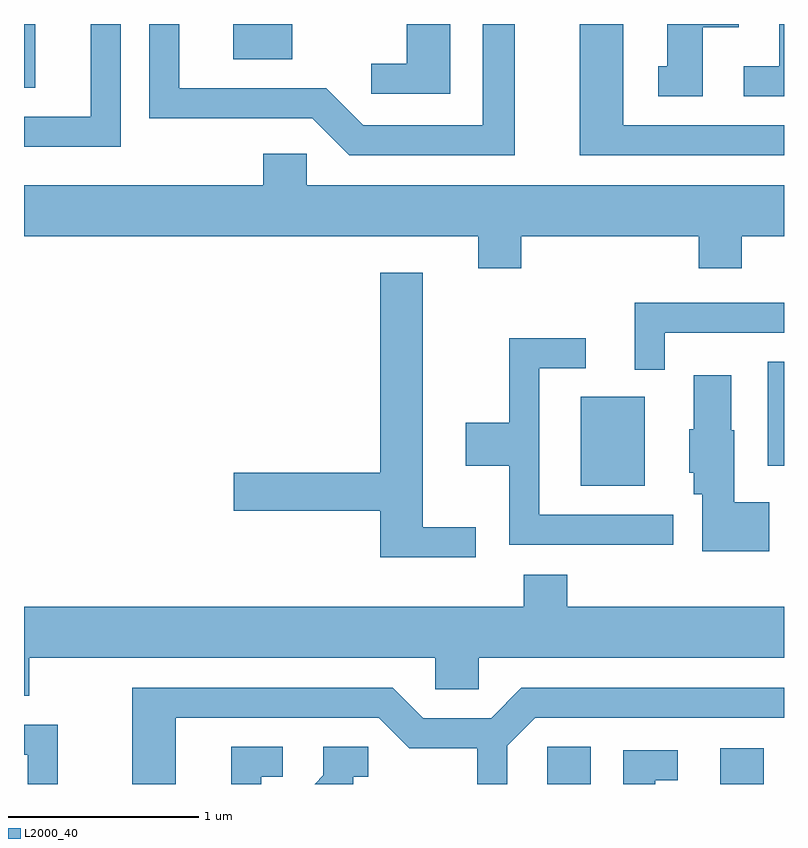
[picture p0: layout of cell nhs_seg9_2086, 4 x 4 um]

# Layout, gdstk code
import gdstk
lib = gdstk.Library(unit=1e-6, precision=1e-09)
def R(c, l, rs):  # rectangles x0, y0, x1, y1
    for r in rs: c.add(gdstk.rectangle(r[:2], r[2:], *l))
def P(c, l, *ps):  # polygons
    for p in ps: c.add(gdstk.Polygon(p, *l))
L2000_40 = (2000, 40)

nhs_seg9_2086 = lib.new_cell('nhs_seg9_2086')
R(nhs_seg9_2086, L2000_40, [(248.366,2044.432,248.594,2044.629), (249.276,2044.432,249.504,2044.619), (248.541,2046.001,248.879,2046.469), (249.526,2046.106,249.611,2046.654), (245.611,2048.096,245.669,2048.432), (246.711,2048.246,247.024,2048.432)])
P(nhs_seg9_2086, L2000_40, [(248.194,2048.432),(248.026,2048.432),(248.026,2047.899),(247.397,2047.899),(247.202,2048.094),(246.429,2048.094),(246.429,2048.432),(246.271,2048.432),(246.271,2047.936),(247.129,2047.936),(247.324,2047.741),(248.194,2047.741)],
  [(246.119,2048.432),(245.961,2048.432),(245.961,2047.944),(245.611,2047.944),(245.611,2047.786),(246.119,2047.786)],
  [(247.854,2048.432),(247.626,2048.432),(247.626,2048.224),(247.438,2048.224),(247.438,2048.066),(247.854,2048.066)],
  [(249.184,2048.416),(249.374,2048.416),(249.374,2048.432),(248.996,2048.432),(248.996,2048.209),(248.948,2048.209),(248.948,2048.051),(249.184,2048.051)],
  [(249.611,2048.432),(249.586,2048.432),(249.586,2048.209),(249.398,2048.209),(249.398,2048.051),(249.611,2048.051)],
  [(249.611,2047.899),(248.764,2047.899),(248.764,2048.432),(248.536,2048.432),(248.536,2047.741),(249.611,2047.741)],
  [(248.229,2047.316),(249.161,2047.316),(249.161,2047.146),(249.389,2047.146),(249.389,2047.316),(249.611,2047.316),(249.611,2047.584),(247.099,2047.584),(247.099,2047.749),(246.871,2047.749),(246.871,2047.584),(245.611,2047.584),(245.611,2047.316),(248.001,2047.316),(248.001,2047.146),(248.229,2047.146)],
  [(247.988,2045.784),(247.709,2045.784),(247.709,2047.124),(247.486,2047.124),(247.486,2046.069),(246.716,2046.069),(246.716,2045.871),(247.486,2045.871),(247.486,2045.626),(247.988,2045.626)],
  [(248.984,2046.806),(249.611,2046.806),(249.611,2046.964),(248.826,2046.964),(248.826,2046.613),(248.984,2046.613)],
  [(249.028,2045.849),(248.324,2045.849),(248.324,2046.621),(248.568,2046.621),(248.568,2046.779),(248.166,2046.779),(248.166,2046.334),(247.936,2046.334),(247.936,2046.106),(248.166,2046.106),(248.166,2045.691),(249.028,2045.691)],
  [(249.534,2045.914),(249.349,2045.914),(249.349,2046.295),(249.334,2046.295),(249.334,2046.584),(249.136,2046.584),(249.136,2046.299),(249.111,2046.299),(249.111,2046.071),(249.136,2046.071),(249.136,2045.956),(249.181,2045.956),(249.181,2045.656),(249.534,2045.656)],
  [(245.639,2045.096),(247.776,2045.096),(247.776,2044.931),(248.004,2044.931),(248.004,2045.096),(249.611,2045.096),(249.611,2045.364),(248.469,2045.364),(248.469,2045.534),(248.241,2045.534),(248.241,2045.364),(245.611,2045.364),(245.611,2044.896),(245.639,2044.896)],
  [(246.409,2044.781),(247.479,2044.781),(247.639,2044.621),(247.996,2044.621),(247.996,2044.432),(248.154,2044.432),(248.154,2044.634),(248.302,2044.781),(249.611,2044.781),(249.611,2044.939),(248.229,2044.939),(248.069,2044.779),(247.712,2044.779),(247.552,2044.939),(246.181,2044.939),(246.181,2044.432),(246.409,2044.432)],
  [(245.789,2044.744),(245.611,2044.744),(245.611,2044.586),(245.631,2044.586),(245.631,2044.432),(245.789,2044.432)],
  [(246.859,2044.471),(246.973,2044.471),(246.973,2044.629),(246.701,2044.629),(246.701,2044.432),(246.859,2044.432)],
  [(247.344,2044.471),(247.423,2044.471),(247.423,2044.629),(247.186,2044.629),(247.186,2044.477),(247.141,2044.432),(247.344,2044.432)],
  [(248.934,2044.451),(249.053,2044.451),(249.053,2044.609),(248.766,2044.609),(248.766,2044.432),(248.934,2044.432)])

lib.write_gds('nhs_seg9_2086.gds')
